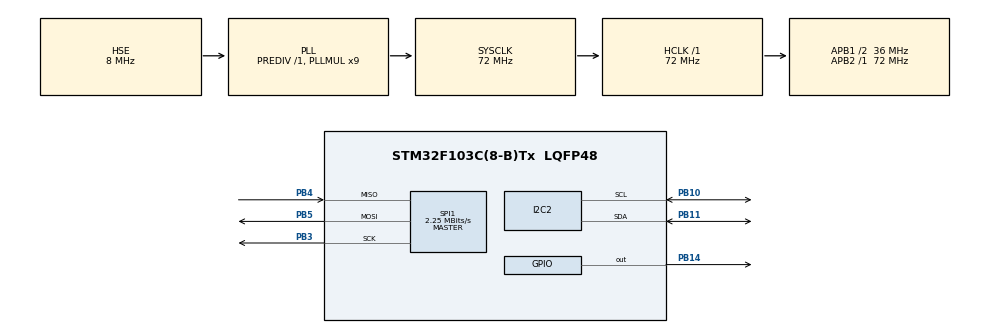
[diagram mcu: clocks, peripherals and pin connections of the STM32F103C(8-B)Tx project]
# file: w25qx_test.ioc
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Mcu.Family=STM32F1
Mcu.Name=STM32F103C(8-B)Tx
Mcu.Package=LQFP48
NVIC.PriorityGroup=NVIC_PRIORITYGROUP_4
PA13.Mode=Serial_Wire
PA13.Signal=SYS_JTMS-SWDIO
PA14.Mode=Serial_Wire
PA14.Signal=SYS_JTCK-SWCLK
PB10.Mode=I2C
PB10.Signal=I2C2_SCL
PB11.Mode=I2C
PB11.Signal=I2C2_SDA
PB14.GPIO_Speed=GPIO_SPEED_FREQ_HIGH
PB14.PinState=GPIO_PIN_SET
PB14.Signal=GPIO_Output
PB3.Mode=Full_Duplex_Master
PB3.Signal=SPI1_SCK
PB4.Mode=Full_Duplex_Master
PB4.Signal=SPI1_MISO
PB5.Mode=Full_Duplex_Master
PB5.Signal=SPI1_MOSI
PD0-OSC_IN.Mode=HSE-External-Oscillator
PD0-OSC_IN.Signal=RCC_OSC_IN
PD1-OSC_OUT.Mode=HSE-External-Oscillator
PD1-OSC_OUT.Signal=RCC_OSC_OUT
ProjectManager.HeapSize=0x200
ProjectManager.StackSize=0x400
ProjectManager.TargetToolchain=STM32CubeIDE
RCC.AHBFreq_Value=72000000
RCC.APB1CLKDivider=RCC_HCLK_DIV2
RCC.APB1Freq_Value=36000000
RCC.APB1TimFreq_Value=72000000
RCC.APB2Freq_Value=72000000
RCC.APB2TimFreq_Value=72000000
RCC.HCLKFreq_Value=72000000
RCC.PLLMUL=RCC_PLL_MUL9
RCC.PLLSourceVirtual=RCC_PLLSOURCE_HSE
RCC.SYSCLKFreq_VALUE=72000000
RCC.SYSCLKSource=RCC_SYSCLKSOURCE_PLLCLK
RCC.USBFreq_Value=72000000
SPI1.BaudRatePrescaler=SPI_BAUDRATEPRESCALER_32
SPI1.CalculateBaudRate=2.25 MBits/s
SPI1.Direction=SPI_DIRECTION_2LINES
SPI1.Mode=SPI_MODE_MASTER
SPI1.VirtualType=VM_MASTER
board=custom

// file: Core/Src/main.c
/* USER CODE BEGIN Header */
/**
  ******************************************************************************
  * @file           : main.c
  * @brief          : Main program body
  ******************************************************************************
  * @attention
  *
  * Copyright (c) 2024 STMicroelectronics.
  * All rights reserved.
  *
  * This software is licensed under terms that can be found in the LICENSE file
  * in the root directory of this software component.
  * If no LICENSE file comes with this software, it is provided AS-IS.
  *
  ******************************************************************************
  */
/* USER CODE END Header */
#include "main.h"
#include "W25Qxx.h"
#include "ssd1306.h"
#include "fonts.h"

//Connect ADDR pin to GND and I2C slave adress will be 0X48 .
#define ADS1115_ADDRESS 0x48
unsigned char ADSwrite[6];
int16_t reading;
float voltage[4];
const float voltageConv = 6.114 / 32768.0;

I2C_HandleTypeDef hi2c2;

SPI_HandleTypeDef hspi1;

void SystemClock_Config(void);
static void MX_GPIO_Init(void);
static void MX_SPI1_Init(void);
static void MX_I2C2_Init(void);

/* USER CODE BEGIN 0 */
uint32_t ID=0;
uint8_t RxData[8192];
uint8_t TxData[30];

float tNum1 = 101.987;
float rNum1 = 0;

float tNum2 = 123456;
float rNum2 = 0;

float tNum3 = -1237;
float rNum3 = 0;

uint32_t tData32[4] = {0x14, 0x1234, 0x12345678, 0xABCDEF};
uint32_t rData32[4];

int isPressed = 0;

void HAL_GPIO_EXTI_Callback(uint16_t GPIO_Pin)
{
	isPressed = 1;
}

/* USER CODE END 0 */

int main(void)
{
  /* USER CODE BEGIN 1 */
	char str[100];
  /* USER CODE END 1 */

  /* MCU Configuration--------------------------------------------------------*/

  /* Reset of all peripherals, Initializes the Flash interface and the Systick. */
  HAL_Init();

  /* Configure the system clock */
  SystemClock_Config();

  /* Initialize all configured peripherals */
  MX_GPIO_Init();
  MX_SPI1_Init();
  MX_I2C2_Init();
  /* USER CODE BEGIN 2 */

  W25Q_Reset();
  ID = W25Q_ReadID();

  if (ssd1306_Init(&hi2c2) != 0) {
      Error_Handler();
    }

  HAL_Delay(1000);
  for (int i = 0; i <= 110; i+= 18) {
	 ssd1306_SetCursor(0, i);
	 ssd1306_WriteString("abcdefgh", Font_11x18, White);
  }

    ssd1306_UpdateScreen(&hi2c2);
  // W25Q_Erase_Sector(0);

  /* USER CODE END 2 */

  /* Infinite loop */
  while (1)
  {
	  for(int i=0; i< 4; i++){
	  			ADSwrite[0] = 0x01;

	  			switch(i){
	  				case(0):
	  					ADSwrite[1] = 0xC1; //11000001
	  				break;
	  				case(1):
	  					ADSwrite[1] = 0xD1; //11010001
	  				break;
	  				case(2):
	  					ADSwrite[1] = 0xE1;
	  				break;
	  				case(3):
	  					ADSwrite[1] = 0xF1;
	  				break;
	  			}

	  			ADSwrite[2] = 0x83; //10000011 LSB

	  			HAL_I2C_Master_Transmit(&hi2c2, ADS1115_ADDRESS << 1, ADSwrite, 3, 100);
	  			ADSwrite[0] = 0x00;
	  			HAL_I2C_Master_Transmit(&hi2c2, ADS1115_ADDRESS << 1 , ADSwrite, 1 ,100);
	  			HAL_Delay(20);

	  			HAL_I2C_Master_Receive(&hi2c2, ADS1115_ADDRESS <<1, ADSwrite, 2, 100);
	  			reading = (ADSwrite[0] << 8 | ADSwrite[1] );
	  			if(reading < 0) {
	  				reading = 0;
	  			}
	  			voltage[i] = reading * voltageConv;

	  		}

	  W25Q_Write_NUM(0, 10, voltage[1]);
	  float rNum1 = W25Q_Read_NUM(0, 10);
	  char *tmpSign = (rNum1 < 0) ? "-" : "";
	  float tmpVal = (rNum1 < 0) ? -rNum1 : rNum1;
	  int tmpInt1 = tmpVal;                  // Get the integer
	  float tmpFrac = tmpVal - tmpInt1;      // Get fraction
	  int tmpInt2 = trunc(tmpFrac * 10000);  // Turn into integer
	  sprintf(str, "%s%d.%04d", tmpSign, tmpInt1, tmpInt2);
	  ssd1306_SetCursor(0, 0);
	  ssd1306_WriteString(str, Font_11x18, White);
	  ssd1306_UpdateScreen(&hi2c2);

  }
}

void SystemClock_Config(void)
{
  RCC_OscInitTypeDef RCC_OscInitStruct = {0};
  RCC_ClkInitTypeDef RCC_ClkInitStruct = {0};

  /** Initializes the RCC Oscillators according to the specified parameters
  * in the RCC_OscInitTypeDef structure.
  */
  RCC_OscInitStruct.OscillatorType = RCC_OSCILLATORTYPE_HSE;
  RCC_OscInitStruct.HSEState = RCC_HSE_ON;
  RCC_OscInitStruct.HSEPredivValue = RCC_HSE_PREDIV_DIV1;
  RCC_OscInitStruct.HSIState = RCC_HSI_ON;
  RCC_OscInitStruct.PLL.PLLState = RCC_PLL_ON;
  RCC_OscInitStruct.PLL.PLLSource = RCC_PLLSOURCE_HSE;
  RCC_OscInitStruct.PLL.PLLMUL = RCC_PLL_MUL9;
  if (HAL_RCC_OscConfig(&RCC_OscInitStruct) != HAL_OK)
  {
    Error_Handler();
  }

  /** Initializes the CPU, AHB and APB buses clocks
  */
  RCC_ClkInitStruct.ClockType = RCC_CLOCKTYPE_HCLK|RCC_CLOCKTYPE_SYSCLK
                              |RCC_CLOCKTYPE_PCLK1|RCC_CLOCKTYPE_PCLK2;
  RCC_ClkInitStruct.SYSCLKSource = RCC_SYSCLKSOURCE_PLLCLK;
  RCC_ClkInitStruct.AHBCLKDivider = RCC_SYSCLK_DIV1;
  RCC_ClkInitStruct.APB1CLKDivider = RCC_HCLK_DIV2;
  RCC_ClkInitStruct.APB2CLKDivider = RCC_HCLK_DIV1;

  if (HAL_RCC_ClockConfig(&RCC_ClkInitStruct, FLASH_LATENCY_2) != HAL_OK)
  {
    Error_Handler();
  }
}

static void MX_I2C2_Init(void)
{

  hi2c2.Instance = I2C2;
  hi2c2.Init.ClockSpeed = 100000;
  hi2c2.Init.DutyCycle = I2C_DUTYCYCLE_2;
  hi2c2.Init.OwnAddress1 = 0;
  hi2c2.Init.AddressingMode = I2C_ADDRESSINGMODE_7BIT;
  hi2c2.Init.DualAddressMode = I2C_DUALADDRESS_DISABLE;
  hi2c2.Init.OwnAddress2 = 0;
  hi2c2.Init.GeneralCallMode = I2C_GENERALCALL_DISABLE;
  hi2c2.Init.NoStretchMode = I2C_NOSTRETCH_DISABLE;
  if (HAL_I2C_Init(&hi2c2) != HAL_OK)
  {
    Error_Handler();
  }

}

static void MX_SPI1_Init(void)
{

  /* SPI1 parameter configuration*/
  hspi1.Instance = SPI1;
  hspi1.Init.Mode = SPI_MODE_MASTER;
  hspi1.Init.Direction = SPI_DIRECTION_2LINES;
  hspi1.Init.DataSize = SPI_DATASIZE_8BIT;
  hspi1.Init.CLKPolarity = SPI_POLARITY_LOW;
  hspi1.Init.CLKPhase = SPI_PHASE_1EDGE;
  hspi1.Init.NSS = SPI_NSS_SOFT;
  hspi1.Init.BaudRatePrescaler = SPI_BAUDRATEPRESCALER_32;
  hspi1.Init.FirstBit = SPI_FIRSTBIT_MSB;
  hspi1.Init.TIMode = SPI_TIMODE_DISABLE;
  hspi1.Init.CRCCalculation = SPI_CRCCALCULATION_DISABLE;
  hspi1.Init.CRCPolynomial = 10;
  if (HAL_SPI_Init(&hspi1) != HAL_OK)
  {
    Error_Handler();
  }

}

static void MX_GPIO_Init(void)
{
  GPIO_InitTypeDef GPIO_InitStruct = {0};

  /* GPIO Ports Clock Enable */
  __HAL_RCC_GPIOD_CLK_ENABLE();
  __HAL_RCC_GPIOB_CLK_ENABLE();
  __HAL_RCC_GPIOA_CLK_ENABLE();

  /*Configure GPIO pin Output Level */
  HAL_GPIO_WritePin(GPIOB, GPIO_PIN_14, GPIO_PIN_SET);

  /*Configure GPIO pin : PB14 */
  GPIO_InitStruct.Pin = GPIO_PIN_14;
  GPIO_InitStruct.Mode = GPIO_MODE_OUTPUT_PP;
  GPIO_InitStruct.Pull = GPIO_NOPULL;
  GPIO_InitStruct.Speed = GPIO_SPEED_FREQ_HIGH;
  HAL_GPIO_Init(GPIOB, &GPIO_InitStruct);

}

void Error_Handler(void)
{
  __disable_irq();
  while (1)
  {
  }
}
